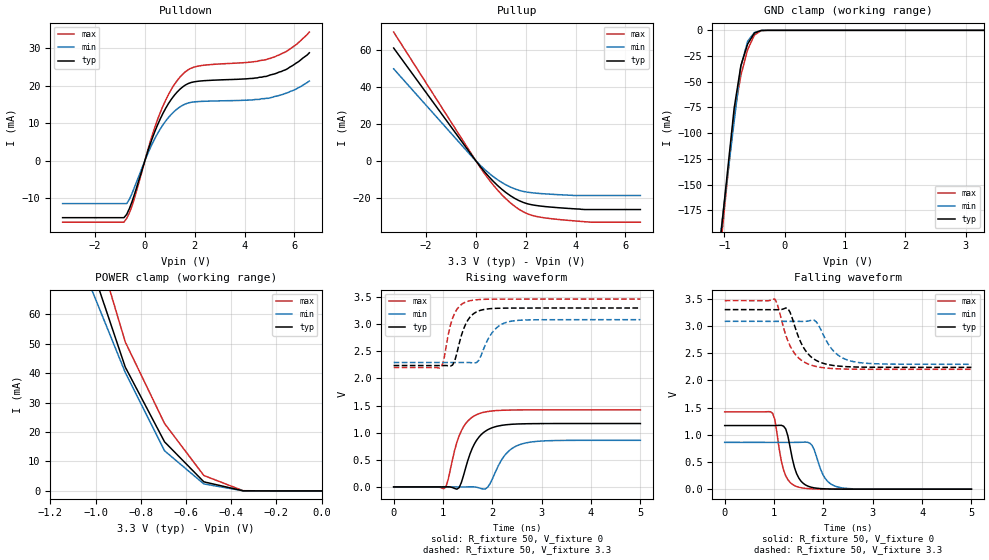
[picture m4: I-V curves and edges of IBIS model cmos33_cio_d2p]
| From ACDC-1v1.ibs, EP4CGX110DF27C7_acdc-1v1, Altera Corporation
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[Model]   cmos33_cio_d2p
Model_type  I/O
Polarity   Non-Inverting
Enable Active-Low
Vinl   = 0.8
Vinh   = 1.7
Vmeas  = 1.5425
Rref   = 10M
Cref   = 0pF
Vref   = 0
| C_comp values for normal column I/O
C_comp 4.7pF   4.7pF   4.7pF
[Temperature Range] 25   85   0
[Voltage Range]  3.3   3.085   3.465
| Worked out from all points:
|   slope of the pulldown table from 0 to 0.495 V, typ, clamps not added: 53.2 ohm
|   slope of the pullup table from 0 to 0.495 V, typ, clamps not added: 60.8 ohm
|   GND clamp passes 1 mA (typ) near -0.43 V on its own axis
|   POWER clamp passes 1 mA (typ) near -0.40 V on its own axis
|   rising waveform, R_fixture 50, V_fixture 0: 20-80 % time 321ps typ, 356ps min, 296ps max; typ from 0 V to 1.17 V
|   falling waveform, R_fixture 50, V_fixture 0: 20-80 % time 196ps typ, 232ps min, 180ps max; typ from 1.17 V to 0 V
|   rising waveform, R_fixture 50, V_fixture 3.3: 20-80 % time 236ps typ, 293ps min, 203ps max; typ from 2.24 V to 3.3 V
|   falling waveform, R_fixture 50, V_fixture 3.3: 20-80 % time 339ps typ, 364ps min, 328ps max; typ from 3.3 V to 2.24 V
[GND Clamp]
| voltage   I (typ)   I (min)   I (max)
-3.3V     -1.449A    -1.286A    -1.533A
-1.063V   -200.7mA   -197.6mA   -211mA
-950.8mV  -138.4mA   -143.2mA   -144.9mA
-839mV    -75.96mA   -88.9mA    -82.12mA
-727.1mV  -34.33mA   -34.92mA   -43.75mA
-615.2mV  -13.39mA   -10.72mA   -18.82mA
-503.4mV  -2.65mA    -2.136mA   -4.609mA
-391.5mV  -131.9uA   -144.3uA   -303.1uA
-279.7mV  -2.49uA    -5.277uA   -4.788uA
3.3V      0A         0A         0A
[Pulldown]
| voltage   I (typ)   I (min)   I (max)
-3.3V     -15.12mA   -11.37mA   -16.31mA
-839mV    -15.12mA   -11.37mA   -16.31mA
-727.1mV  -14.23mA   -11.37mA   -15.26mA
-503.4mV  -10.65mA   -8.492mA   -11.77mA
167.8mV   3.512mA    2.673mA    4.016mA
615.2mV   11.09mA    8.423mA    12.78mA
1.063V    16.35mA    12.36mA    18.98mA
1.622V    20.12mA    15.08mA    23.63mA
2.293V    21.24mA    15.79mA    25.33mA
5.037V    22.82mA    16.76mA    27.22mA
5.732V    24.5mA     18.1mA     29.3mA
6.6V      28.7mA     21.2mA     34.2mA
[POWER Clamp]
| voltage   I (typ)   I (min)   I (max)
-3.3V     563.3mA    490.8mA    628.3mA
-1.042V   81.71mA    73.14mA    95.33mA
-868.4mV  42.04mA    40.22mA    50.58mA
-694.7mV  16.67mA    13.63mA    22.89mA
-521.1mV  3.089mA    2.381mA    5.24mA
-347.4mV  36.31uA    53.51uA    71.94uA
0V        0A         0A         0A
[Pullup]
| voltage   I (typ)   I (min)   I (max)
-3.3V     60.91mA    49.67mA    69.51mA
-347.4mV  6.357mA    5.089mA    7.297mA
173.7mV   -3.033mA   -2.372mA   -3.54mA
521.1mV   -8.546mA   -6.618mA   -10.05mA
868.4mV   -13.29mA   -10.18mA   -15.77mA
1.216V    -17.22mA   -13.03mA   -20.63mA
1.563V    -20.29mA   -15.15mA   -24.58mA
2.084V    -23.23mA   -16.94mA   -28.67mA
2.432V    -24.12mA   -17.47mA   -30.02mA
2.953V    -24.89mA   -17.97mA   -31.11mA
4.586V    -26.28mA   -18.71mA   -33.1mA
6.6V      -26.28mA   -18.71mA   -33.11mA
[Ramp]
dV/dt_r   7.014e-001/3.212e-010  5.157e-001/3.559e-010  8.526e-001/2.961e-010
dV/dt_f   6.366e-001/3.389e-010  4.740e-001/3.636e-010  7.572e-001/3.285e-010
R_load = 50ohms
[Rising Waveform]
R_fixture   = 50
V_fixture   = 0
V_fixture_min = 0
V_fixture_max = 0
| time   V (typ)   V (min)   V (max)
0s        0V         612.8nV    0V
1.016ns   -389.5uV   -226uV     -32.84mV
1.104ns   2.094mV    -205.6uV   134.7mV
1.326ns   -13.73mV   -363uV     939.1mV
1.592ns   709.3mV    1.982mV    1.286V
1.769ns   960.4mV    -28.82mV   1.363V
1.902ns   1.052V     -7.813mV   1.389V
2.301ns   1.148V     633.3mV    1.416V
2.611ns   1.163V     795.8mV    1.42V
5ns       1.169V     859.5mV    1.421V
[Falling Waveform]
R_fixture   = 50
V_fixture   = 0
V_fixture_min = 0
V_fixture_max = 0
| time   V (typ)   V (min)   V (max)
0s        1.169V     859.6mV    1.421V
971.5ps   1.169V     859.5mV    1.394V
1.016ns   1.169V     859.5mV    1.279V
1.193ns   1.158V     859.3mV    351.2mV
1.282ns   974.2mV    859.3mV    172.7mV
1.459ns   282mV      859.8mV    48.07mV
1.769ns   32.34mV    805.3mV    6.196mV
2.035ns   5.867mV    200.3mV    1.126mV
2.301ns   1.092mV    38.12mV    209.1uV
5ns       7.466uV    8.953uV    6.903uV
[Rising Waveform]
R_fixture   = 50
V_fixture   = 3.3
V_fixture_min = 3.085
V_fixture_max = 3.465
| time   V (typ)   V (min)   V (max)
0s        2.239V     2.295V     2.203V
971.5ps   2.238V     2.295V     2.22V
1.016ns   2.239V     2.295V     2.338V
1.193ns   2.247V     2.295V     3.109V
1.326ns   2.638V     2.294V     3.326V
1.503ns   3.076V     2.295V     3.424V
1.725ns   3.248V     2.335V     3.456V
1.991ns   3.29V      2.838V     3.463V
2.301ns   3.298V     3.04V      3.464V
5ns       3.3V       3.085V     3.465V
[Falling Waveform]
R_fixture   = 50
V_fixture   = 3.3
V_fixture_min = 3.085
V_fixture_max = 3.465
| time   V (typ)   V (min)   V (max)
0s        3.3V       3.085V     3.465V
1.016ns   3.298V     3.084V     3.494V
1.282ns   3.319V     3.084V     2.722V
1.37ns    3.138V     3.084V     2.557V
1.548ns   2.688V     3.083V     2.374V
1.769ns   2.418V     3.109V     2.274V
1.858ns   2.365V     3.075V     2.253V
2.212ns   2.272V     2.532V     2.215V
2.567ns   2.248V     2.353V     2.206V
5ns       2.239V     2.295V     2.203V
